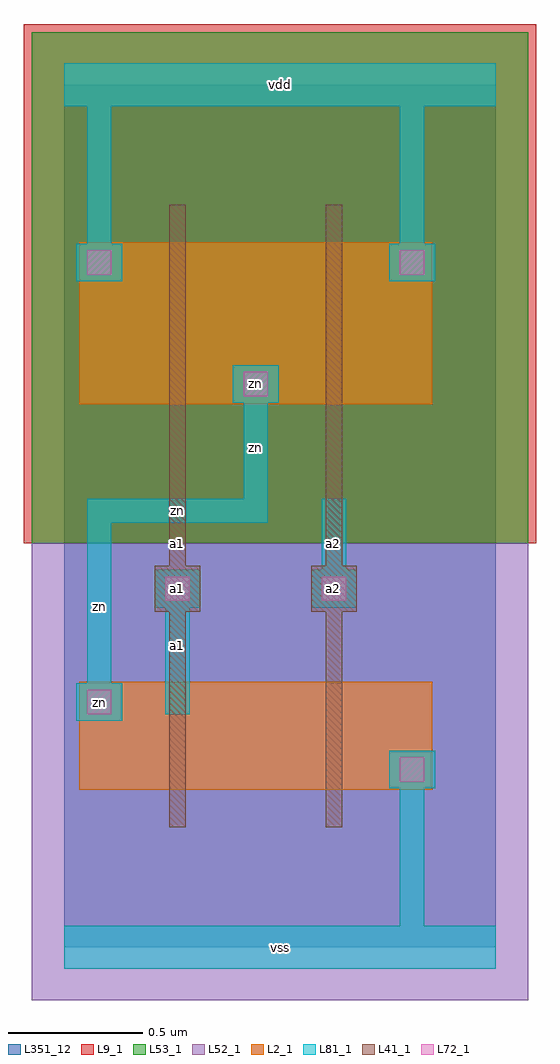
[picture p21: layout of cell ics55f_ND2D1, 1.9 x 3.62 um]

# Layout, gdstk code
import gdstk
lib = gdstk.Library(unit=1e-6, precision=1e-09)
def R(c, l, rs):  # rectangles x0, y0, x1, y1
    for r in rs: c.add(gdstk.rectangle(r[:2], r[2:], *l))
def P(c, l, *ps):  # polygons
    for p in ps: c.add(gdstk.Polygon(p, *l))
L0_0 = (0, 0)
L2_1 = (2, 1)
L9_1 = (9, 1)
L41_1 = (41, 1)
L52_1 = (52, 1)
L53_1 = (53, 1)
L72_1 = (72, 1)
L81_1 = (81, 1)
L351_12 = (351, 12)

ics55f_nd2d1 = lib.new_cell('ics55f_ND2D1')
R(ics55f_nd2d1, L2_1, [(0.055,0.585,0.785,0.985), (0.635,0.585,1.365,0.985), (1.215,0.585,1.365,0.735), (0.055,0.835,0.205,0.985), (0.055,2.015,0.785,2.615), (0.635,2.015,1.365,2.615), (0.635,2.015,0.785,2.165), (0.055,2.465,0.205,2.615), (1.215,2.465,1.365,2.615)])
R(ics55f_nd2d1, L9_1, [(-0.15,1.5,1.75,3.425)])
R(ics55f_nd2d1, L41_1, [(0.39,0.445,0.45,1.125), (0.97,0.445,1.03,1.125), (0.39,0.88,0.45,2.12), (0.97,0.88,1.03,2.12), (0.335,1.245,0.505,1.415), (0.915,1.245,1.085,1.415), (0.39,1.875,0.45,2.755), (0.97,1.875,1.03,2.755)])
R(ics55f_nd2d1, L52_1, [(-0.12,-0.195,1.72,1.5)])
R(ics55f_nd2d1, L53_1, [(-0.12,1.5,1.72,3.395)])
R(ics55f_nd2d1, L72_1, [(1.245,0.615,1.335,0.705), (0.085,0.865,0.175,0.955), (0.375,1.285,0.465,1.375), (0.955,1.285,1.045,1.375), (0.665,2.045,0.755,2.135), (0.085,2.495,0.175,2.585), (1.245,2.495,1.335,2.585)])
P(ics55f_nd2d1, L81_1, [(0,-0.08),(0,0.08),(1.245,0.08),(1.245,0.59),(1.205,0.59),(1.205,0.73),(1.375,0.73),(1.375,0.59),(1.335,0.59),(1.335,0.08),(1.6,0.08),(1.6,-0.08)],
  [(0.375,0.865),(0.375,1.26),(0.335,1.26),(0.335,1.4),(0.505,1.4),(0.505,1.26),(0.465,1.26),(0.465,0.865)],
  [(0.915,1.26),(0.915,1.4),(0.955,1.4),(0.955,1.665),(1.045,1.665),(1.045,1.4),(1.085,1.4),(1.085,1.26)],
  [(0.045,0.84),(0.045,0.98),(0.085,0.98),(0.085,1.665),(0.665,1.665),(0.665,2.02),(0.625,2.02),(0.625,2.16),(0.795,2.16),(0.795,2.02),(0.755,2.02),(0.755,1.575),(0.175,1.575),(0.175,0.98),(0.215,0.98),(0.215,0.84)],
  [(0.045,2.47),(0.045,2.61),(0.085,2.61),(0.085,3.12),(0,3.12),(0,3.28),(1.6,3.28),(1.6,3.12),(1.335,3.12),(1.335,2.61),(1.375,2.61),(1.375,2.47),(1.205,2.47),(1.205,2.61),(1.245,2.61),(1.245,3.12),(0.175,3.12),(0.175,2.61),(0.215,2.61),(0.215,2.47)])
R(ics55f_nd2d1, L351_12, [(0,0,1.6,3.2)])
ics55f_nd2d1.add(gdstk.FlexPath([(0.045,0.24),(1.375,0.24)], 0, ends="flush", simple_path=True, layer=0, datatype=0))  # L0_0
ics55f_nd2d1.add(gdstk.FlexPath([(0.045,0.66),(1.375,0.66)], 0, ends="flush", simple_path=True, layer=0, datatype=0))  # L0_0
ics55f_nd2d1.add(gdstk.FlexPath([(0.045,0.91),(1.375,0.91)], 0, ends="flush", simple_path=True, layer=0, datatype=0))  # L0_0
ics55f_nd2d1.add(gdstk.FlexPath([(0.045,1.33),(1.375,1.33)], 0, ends="flush", simple_path=True, layer=0, datatype=0))  # L0_0
ics55f_nd2d1.add(gdstk.FlexPath([(0.045,1.62),(1.375,1.62)], 0, ends="flush", simple_path=True, layer=0, datatype=0))  # L0_0
ics55f_nd2d1.add(gdstk.FlexPath([(0.045,2.09),(1.375,2.09)], 0, ends="flush", simple_path=True, layer=0, datatype=0))  # L0_0
ics55f_nd2d1.add(gdstk.FlexPath([(0.045,2.54),(1.375,2.54)], 0, ends="flush", simple_path=True, layer=0, datatype=0))  # L0_0
ics55f_nd2d1.add(gdstk.FlexPath([(0.045,2.96),(1.375,2.96)], 0, ends="flush", simple_path=True, layer=0, datatype=0))  # L0_0
ics55f_nd2d1.add(gdstk.FlexPath([(0.13,0.03),(0.13,3.17)], 0, ends="flush", simple_path=True, layer=0, datatype=0))  # L0_0
ics55f_nd2d1.add(gdstk.FlexPath([(0.42,0.03),(0.42,3.17)], 0, ends="flush", simple_path=True, layer=0, datatype=0))  # L0_0
ics55f_nd2d1.add(gdstk.FlexPath([(0.71,0.03),(0.71,3.17)], 0, ends="flush", simple_path=True, layer=0, datatype=0))  # L0_0
ics55f_nd2d1.add(gdstk.FlexPath([(1,0.03),(1,3.17)], 0, ends="flush", simple_path=True, layer=0, datatype=0))  # L0_0
ics55f_nd2d1.add(gdstk.FlexPath([(1.29,0.03),(1.29,3.17)], 0, ends="flush", simple_path=True, layer=0, datatype=0))  # L0_0
ics55f_nd2d1.add(gdstk.Label('zn', (0.13,0.91), layer=2, texttype=1))
ics55f_nd2d1.add(gdstk.Label('zn', (0.71,2.09), layer=2, texttype=1))
ics55f_nd2d1.add(gdstk.Label('a1', (0.42,1.5), layer=41, texttype=1))
ics55f_nd2d1.add(gdstk.Label('a1', (0.42,1.33), layer=41, texttype=1))
ics55f_nd2d1.add(gdstk.Label('a2', (1,1.5), layer=41, texttype=1))
ics55f_nd2d1.add(gdstk.Label('a2', (1,1.33), layer=41, texttype=1))
ics55f_nd2d1.add(gdstk.Label('zn', (0.13,0.91), layer=72, texttype=1))
ics55f_nd2d1.add(gdstk.Label('zn', (0.71,2.09), layer=72, texttype=1))
ics55f_nd2d1.add(gdstk.Label('a1', (0.42,1.33), layer=72, texttype=1))
ics55f_nd2d1.add(gdstk.Label('a2', (1,1.33), layer=72, texttype=1))
ics55f_nd2d1.add(gdstk.Label('zn', (0.13,0.91), layer=81, texttype=6))
ics55f_nd2d1.add(gdstk.Label('zn', (0.71,2.09), layer=81, texttype=6))
ics55f_nd2d1.add(gdstk.Label('zn', (0.13,1.265), layer=81, texttype=6))
ics55f_nd2d1.add(gdstk.Label('zn', (0.42,1.62), layer=81, texttype=6))
ics55f_nd2d1.add(gdstk.Label('zn', (0.71,1.855), layer=81, texttype=6))
ics55f_nd2d1.add(gdstk.Label('a1', (0.42,1.33), layer=81, texttype=6))
ics55f_nd2d1.add(gdstk.Label('a1', (0.42,1.12), layer=81, texttype=6))
ics55f_nd2d1.add(gdstk.Label('a2', (1,1.33), layer=81, texttype=6))
ics55f_nd2d1.add(gdstk.Label('a2', (1,1.475), layer=81, texttype=6))
ics55f_nd2d1.add(gdstk.Label('vss', (0.8,0), layer=81, texttype=6))
ics55f_nd2d1.add(gdstk.Label('vdd', (0.8,3.2), layer=81, texttype=6))

lib.write_gds('ics55f_ND2D1.gds')
